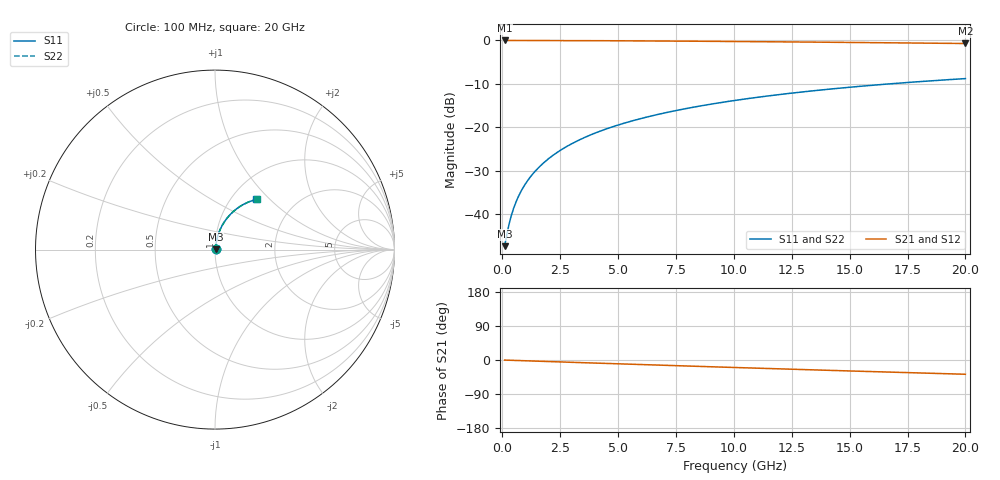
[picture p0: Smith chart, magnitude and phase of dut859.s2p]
! Touchstone file exported from HFSS 2026.1.0
!  File:  C:/ffzhzh/LocalFiles/Ansys_Project_Files/temp_train_TMRDL_859_1783157122_22436.aedt
!  Generated:  05:26:33 PM Jul  4, 2026
!  Design:  TMRDL
!  Project:  temp_train_TMRDL_859_1783157122_22436
! Variables:
!  h_bsmrdl = 2um
!  h_ox = 20um
!  h_rdl = 5um
!  h_sub = 80um
!  h_tmrdl = 3.96um
!  h_tsv = 80um
!  h_via = 3um
!  l_bsmrdl = 300um
!  l_sub = 946.28um
!  l_tmrdl = 546.28um
!  m_sub = 200um
!  pitch = 35.99um
!  r_tsv = 6um
!  s_tmrdl = 10um
!  w_bsmrdl = 18um
!  w_sub = 500um
!  w_tmrdl = 13.98um
!  x_tsv_center1 = 553.27um
!  x_tsv_center2 = 871.27um
!  x_tsv_center3 = 1431.53um
!  x_tsv_center4 = 1749.53um
!  x_tsv_center5 = 2309.79um
!  x_tsv_center6 = 2627.79um
# GHz S MA R 50.000000
! Terminal data exported
! Port[1] = TM_RDL1_1_T1
! Port[2] = TM_RDL1_1_T2
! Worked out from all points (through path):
!   200 points, 100 MHz to 20 GHz, reference 50 ohm
!   highest |S21| = -0.03 dB at 100 MHz (marker M1); lowest = -0.7 dB at 20 GHz (marker M2)
!   group delay of S21, straight-line fit = 5.23 ps
!   lowest |S11| = -47.4 dB at 100 MHz (marker M3), VSWR 1.01, Z = 50.4 + j0.232 ohm
!   |S11| at or under -10 dB: start of sweep to 16.78 GHz
!   |S22| runs from -47.4 to -8.8 dB; largest |S21 - S12| = 5.6e-15
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0.1  0.004272 32.7  0.9964 -0.2  0.9964 -0.2  0.004272 32.7
! Gamma 0 0 0 0
! Port Impedance 50 0 50 0
0.2  0.005889 51.0  0.9963 -0.4  0.9963 -0.4  0.005889 51.0
0.3  0.007812 60.4  0.9962 -0.6  0.9962 -0.6  0.007812 60.4
0.4  0.009828 65.8  0.9961 -0.8  0.9961 -0.8  0.009829 65.8
0.5  0.01188 69.3  0.9959 -1.0  0.9959 -1.0  0.01188 69.3
0.6  0.01394 71.8  0.9958 -1.2  0.9958 -1.2  0.01394 71.8
0.8  0.0181 74.9  0.9957 -1.6  0.9957 -1.6  0.0181 74.9
1.1  0.02439 77.5  0.9954 -2.3  0.9954 -2.3  0.02439 77.5
1.3  0.02861 78.4  0.9952 -2.7  0.9952 -2.7  0.02861 78.4
1.6  0.03496 79.3  0.9949 -3.3  0.9949 -3.3  0.03496 79.3
2.1  0.04555 79.7  0.9942 -4.3  0.9942 -4.3  0.04555 79.7
2.7  0.05822 79.5  0.9933 -5.5  0.9933 -5.5  0.05822 79.5
3.5  0.075 78.7  0.9917 -7.1  0.9917 -7.1  0.075 78.7
4.2  0.08952 77.7  0.9901 -8.5  0.9901 -8.5  0.08952 77.7
5  0.1059 76.4  0.9879 -10.1  0.9879 -10.1  0.1059 76.4
5.9  0.124 74.9  0.9852 -11.9  0.9852 -11.9  0.124 74.9
6.8  0.1419 73.3  0.9822 -13.6  0.9822 -13.6  0.1419 73.3
8.3  0.1708 70.6  0.9767 -16.5  0.9767 -16.5  0.1708 70.6
10.1  0.2043 67.4  0.9693 -19.9  0.9693 -19.9  0.2043 67.4
13.4  0.2621 61.6  0.954 -26.0  0.954 -26.0  0.2621 61.5
16.7  0.3149 55.9  0.9371 -31.9  0.9371 -31.9  0.3149 55.9
20  0.3626 50.4  0.9192 -37.6  0.9192 -37.6  0.3626 50.4
